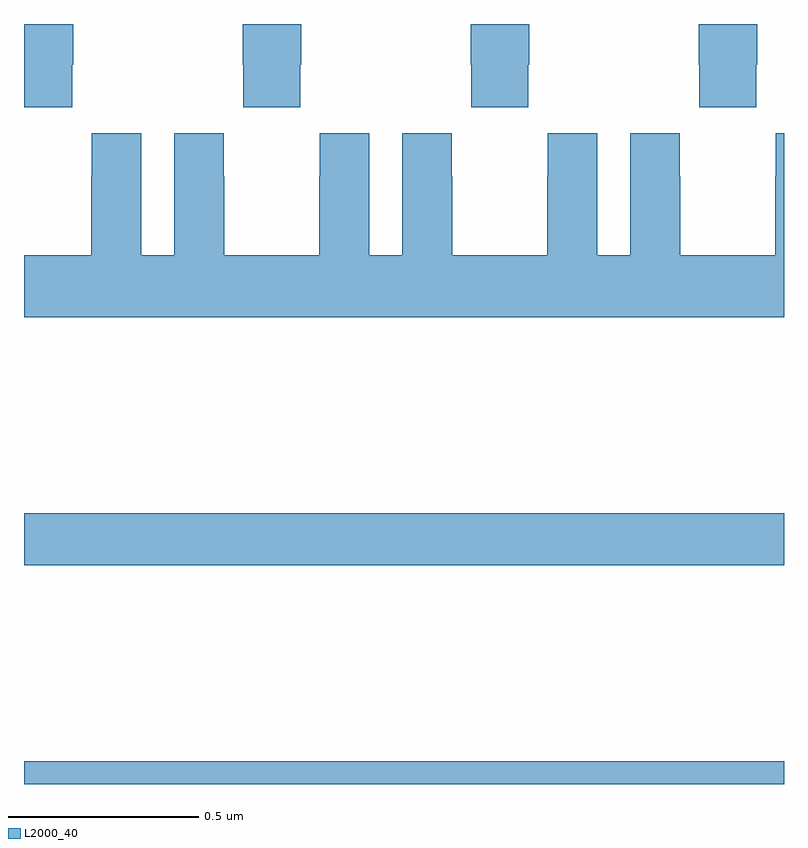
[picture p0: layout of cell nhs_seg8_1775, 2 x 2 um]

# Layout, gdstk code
import gdstk
lib = gdstk.Library(unit=1e-6, precision=1e-09)
def R(c, l, rs):  # rectangles x0, y0, x1, y1
    for r in rs: c.add(gdstk.rectangle(r[:2], r[2:], *l))
def P(c, l, *ps):  # polygons
    for p in ps: c.add(gdstk.Polygon(p, *l))
L2000_40 = (2000, 40)

nhs_seg8_1775 = lib.new_cell('nhs_seg8_1775')
R(nhs_seg8_1775, L2000_40, [(134,1153.9,136,1153.96), (134,1154.476,136,1154.612)])
P(nhs_seg8_1775, L2000_40, [(135.175,1155.793),(135.177,1155.793),(135.177,1155.681),(135.327,1155.681),(135.327,1155.793),(135.33,1155.793),(135.33,1155.9),(135.175,1155.9)],
  [(135.927,1155.793),(135.93,1155.793),(135.93,1155.9),(135.775,1155.9),(135.775,1155.793),(135.777,1155.793),(135.777,1155.681),(135.927,1155.681)],
  [(134.127,1155.793),(134.13,1155.793),(134.13,1155.9),(134,1155.9),(134,1155.681),(134.127,1155.681)],
  [(134.727,1155.793),(134.73,1155.793),(134.73,1155.9),(134.575,1155.9),(134.575,1155.793),(134.577,1155.793),(134.577,1155.681),(134.727,1155.681)],
  [(136,1155.613),(135.978,1155.613),(135.978,1155.5),(135.977,1155.5),(135.977,1155.292),(135.727,1155.292),(135.727,1155.5),(135.726,1155.5),(135.726,1155.613),(135.596,1155.613),(135.596,1155.292),(135.508,1155.292),(135.508,1155.613),(135.378,1155.613),(135.378,1155.5),(135.377,1155.5),(135.377,1155.292),(135.127,1155.292),(135.127,1155.5),(135.126,1155.5),(135.126,1155.613),(134.996,1155.613),(134.996,1155.292),(134.908,1155.292),(134.908,1155.613),(134.778,1155.613),(134.778,1155.5),(134.777,1155.5),(134.777,1155.292),(134.527,1155.292),(134.527,1155.5),(134.526,1155.5),(134.526,1155.613),(134.396,1155.613),(134.396,1155.292),(134.308,1155.292),(134.308,1155.613),(134.178,1155.613),(134.178,1155.5),(134.177,1155.5),(134.177,1155.292),(134,1155.292),(134,1155.128),(136,1155.128)])

lib.write_gds('nhs_seg8_1775.gds')
